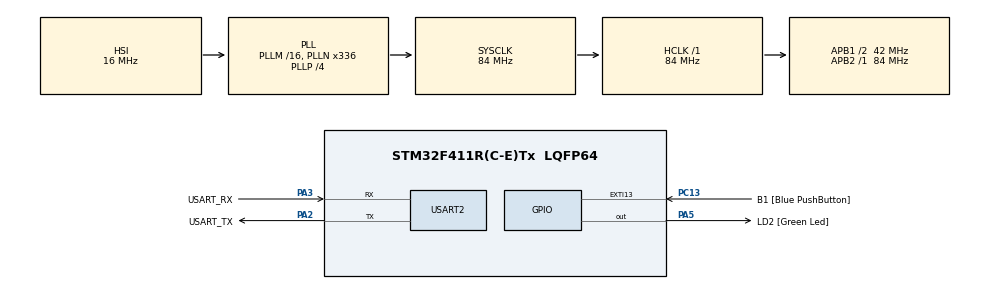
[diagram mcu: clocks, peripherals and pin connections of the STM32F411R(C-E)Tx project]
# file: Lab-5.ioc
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Mcu.Family=STM32F4
Mcu.Name=STM32F411R(C-E)Tx
Mcu.Package=LQFP64
NVIC.PriorityGroup=NVIC_PRIORITYGROUP_0
NVIC.USART2_IRQn=true\:0\:0\:false\:false\:true\:true\:true\:true
PA13.GPIO_Label=TMS
PA13.Mode=Serial_Wire
PA13.Signal=SYS_JTMS-SWDIO
PA14.GPIO_Label=TCK
PA14.Mode=Serial_Wire
PA14.Signal=SYS_JTCK-SWCLK
PA2.GPIO_Label=USART_TX
PA2.Mode=Asynchronous
PA2.Signal=USART2_TX
PA3.GPIO_Label=USART_RX
PA3.Mode=Asynchronous
PA3.Signal=USART2_RX
PA5.GPIO_Label=LD2 [Green Led]
PA5.Signal=GPIO_Output
PB3.GPIO_Label=SWO
PB3.Signal=SYS_JTDO-SWO
PC13-ANTI_TAMP.GPIO_Label=B1 [Blue PushButton]
PC13-ANTI_TAMP.GPIO_ModeDefaultEXTI=GPIO_MODE_IT_FALLING
PC13-ANTI_TAMP.Signal=GPXTI13
PC14-OSC32_IN.Mode=LSE-External-Oscillator
PC14-OSC32_IN.Signal=RCC_OSC32_IN
PC15-OSC32_OUT.Mode=LSE-External-Oscillator
PC15-OSC32_OUT.Signal=RCC_OSC32_OUT
PH0\ -\ OSC_IN.Mode=HSE-External-Clock-Source
PH0\ -\ OSC_IN.Signal=RCC_OSC_IN
PH1\ -\ OSC_OUT.Mode=HSE-External-Clock-Source
PH1\ -\ OSC_OUT.Signal=RCC_OSC_OUT
ProjectManager.HeapSize=0x200
ProjectManager.StackSize=0x400
ProjectManager.TargetToolchain=STM32CubeIDE
RCC.48MHZClocksFreq_Value=84000000
RCC.AHBFreq_Value=84000000
RCC.APB1CLKDivider=RCC_HCLK_DIV2
RCC.APB1Freq_Value=42000000
RCC.APB1TimFreq_Value=84000000
RCC.APB2Freq_Value=84000000
RCC.APB2TimFreq_Value=84000000
RCC.CortexFreq_Value=84000000
RCC.FLatency-AdvancedSettings=FLASH_LATENCY_2
RCC.HCLKFreq_Value=84000000
RCC.HSE_VALUE=8000000
RCC.HSI_VALUE=16000000
RCC.PLLN=336
RCC.PLLP=RCC_PLLP_DIV4
RCC.SYSCLKFreq_VALUE=84000000
RCC.SYSCLKSource=RCC_SYSCLKSOURCE_PLLCLK
RCC.VCOOutputFreq_Value=336000000
USART2.Parity=PARITY_EVEN
USART2.VirtualMode=VM_ASYNC
USART2.WordLength=WORDLENGTH_9B
board=NUCLEO-F411RE

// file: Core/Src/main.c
/* USER CODE BEGIN Header */
/**
  ******************************************************************************
  * @file           : main.c
  * @brief          : Main program body
  ******************************************************************************
  * @attention
  *
  * Copyright (c) 2023 STMicroelectronics.
  * All rights reserved.
  *
  * This software is licensed under terms that can be found in the LICENSE file
  * in the root directory of this software component.
  * If no LICENSE file comes with this software, it is provided AS-IS.
  *
  ******************************************************************************
  */
/* USER CODE END Header */
#include "main.h"

/* USER CODE BEGIN Includes */
#include "stdio.h"
#include "string.h"
/* USER CODE END Includes */

UART_HandleTypeDef huart2;

/* USER CODE BEGIN PV */
uint8_t RxBuffer[10] ;
uint8_t TxBuffer[200] ;
uint8_t Text[20] ;
uint8_t Menu [] ="what do you want to do ? \r\npress 0 for : Led Control \r\npress 1 for : Button Status \r\n";
uint8_t Menu0 [] = "--------LED Control--------\r\npress a for : Speed Up +1Hz\r\npress s for : Speed Down -1Hz\r\npress d for : On/Off\r\npress x for : Back\r\n";
uint8_t Menu1 [] = "--------Button Status--------\r\npress x for : Back\r\n";
uint8_t flagMenu = 0 ;
uint8_t ButtonStatus = 0 , L_ButtonStatus = 0;
int delay = 0 ;
uint32_t Blink = 0;
uint8_t OnoffLed = 0;
/* USER CODE END PV */

void SystemClock_Config(void);
static void MX_GPIO_Init(void);
static void MX_USART2_UART_Init(void);
/* USER CODE BEGIN PFP */
void UARTInterruptConfig();
/* USER CODE END PFP */

int main(void)
{

  /* MCU Configuration--------------------------------------------------------*/

  /* Reset of all peripherals, Initializes the Flash interface and the Systick. */
  HAL_Init();

  /* Configure the system clock */
  SystemClock_Config();

  /* Initialize all configured peripherals */
  MX_GPIO_Init();
  MX_USART2_UART_Init();

  /* Infinite loop */
  while (1)
  {

    /* USER CODE BEGIN 3 */
	  static uint32_t Time ;
	  UARTInterruptConfig();
	  if(HAL_GetTick() > Time && flagMenu == 0)
		  {
		  		Time = HAL_GetTick() + 3000 ;
		  		HAL_UART_Transmit_IT(&huart2, Menu, strlen((char*)Menu));  // show menu
		  }
	  else if(flagMenu != 0)
	  	  {
	  		  	Time = HAL_GetTick();
	  	  }

	  if(flagMenu == 2)
	  	 {
	  	  	  ButtonStatus = HAL_GPIO_ReadPin(B1_GPIO_Port, B1_Pin);
	  	  	  if(L_ButtonStatus != ButtonStatus)
		  	  {
		  		sprintf((char*)TxBuffer,"Button status : %d\r\n",ButtonStatus);
		  		HAL_UART_Transmit_IT(&huart2, TxBuffer, strlen((char*)TxBuffer));
		  	  }
  		  	  L_ButtonStatus = ButtonStatus ;

	  	 }
	  if(HAL_GetTick() > Blink && OnoffLed == 0)
	  {
		  if(delay > 0)
		  	  {
		  		  Blink = 500/delay ;                     //toggle use 500 ms because on and off at 1000 ms
		  	  }
		  	  else if(delay <= 0 )
		  	  {
		  		  Blink = 0 ;
		  	  }
		  Blink = HAL_GetTick() + Blink ;
		  HAL_GPIO_TogglePin(LD2_GPIO_Port, LD2_Pin);   // toggle ld2
	  }
  }
  /* USER CODE END 3 */
}

void SystemClock_Config(void)
{
  RCC_OscInitTypeDef RCC_OscInitStruct = {0};
  RCC_ClkInitTypeDef RCC_ClkInitStruct = {0};

  /** Configure the main internal regulator output voltage
  */
  __HAL_RCC_PWR_CLK_ENABLE();
  __HAL_PWR_VOLTAGESCALING_CONFIG(PWR_REGULATOR_VOLTAGE_SCALE1);

  /** Initializes the RCC Oscillators according to the specified parameters
  * in the RCC_OscInitTypeDef structure.
  */
  RCC_OscInitStruct.OscillatorType = RCC_OSCILLATORTYPE_HSI;
  RCC_OscInitStruct.HSIState = RCC_HSI_ON;
  RCC_OscInitStruct.HSICalibrationValue = RCC_HSICALIBRATION_DEFAULT;
  RCC_OscInitStruct.PLL.PLLState = RCC_PLL_ON;
  RCC_OscInitStruct.PLL.PLLSource = RCC_PLLSOURCE_HSI;
  RCC_OscInitStruct.PLL.PLLM = 16;
  RCC_OscInitStruct.PLL.PLLN = 336;
  RCC_OscInitStruct.PLL.PLLP = RCC_PLLP_DIV4;
  RCC_OscInitStruct.PLL.PLLQ = 4;
  if (HAL_RCC_OscConfig(&RCC_OscInitStruct) != HAL_OK)
  {
    Error_Handler();
  }

  /** Initializes the CPU, AHB and APB buses clocks
  */
  RCC_ClkInitStruct.ClockType = RCC_CLOCKTYPE_HCLK|RCC_CLOCKTYPE_SYSCLK
                              |RCC_CLOCKTYPE_PCLK1|RCC_CLOCKTYPE_PCLK2;
  RCC_ClkInitStruct.SYSCLKSource = RCC_SYSCLKSOURCE_PLLCLK;
  RCC_ClkInitStruct.AHBCLKDivider = RCC_SYSCLK_DIV1;
  RCC_ClkInitStruct.APB1CLKDivider = RCC_HCLK_DIV2;
  RCC_ClkInitStruct.APB2CLKDivider = RCC_HCLK_DIV1;

  if (HAL_RCC_ClockConfig(&RCC_ClkInitStruct, FLASH_LATENCY_2) != HAL_OK)
  {
    Error_Handler();
  }
}

static void MX_USART2_UART_Init(void)
{

  huart2.Instance = USART2;
  huart2.Init.BaudRate = 115200;
  huart2.Init.WordLength = UART_WORDLENGTH_9B;
  huart2.Init.StopBits = UART_STOPBITS_1;
  huart2.Init.Parity = UART_PARITY_EVEN;
  huart2.Init.Mode = UART_MODE_TX_RX;
  huart2.Init.HwFlowCtl = UART_HWCONTROL_NONE;
  huart2.Init.OverSampling = UART_OVERSAMPLING_16;
  if (HAL_UART_Init(&huart2) != HAL_OK)
  {
    Error_Handler();
  }

}

static void MX_GPIO_Init(void)
{
  GPIO_InitTypeDef GPIO_InitStruct = {0};

  /* GPIO Ports Clock Enable */
  __HAL_RCC_GPIOC_CLK_ENABLE();
  __HAL_RCC_GPIOH_CLK_ENABLE();
  __HAL_RCC_GPIOA_CLK_ENABLE();
  __HAL_RCC_GPIOB_CLK_ENABLE();

  /*Configure GPIO pin Output Level */
  HAL_GPIO_WritePin(LD2_GPIO_Port, LD2_Pin, GPIO_PIN_RESET);

  /*Configure GPIO pin : B1_Pin */
  GPIO_InitStruct.Pin = B1_Pin;
  GPIO_InitStruct.Mode = GPIO_MODE_IT_FALLING;
  GPIO_InitStruct.Pull = GPIO_NOPULL;
  HAL_GPIO_Init(B1_GPIO_Port, &GPIO_InitStruct);

  /*Configure GPIO pin : LD2_Pin */
  GPIO_InitStruct.Pin = LD2_Pin;
  GPIO_InitStruct.Mode = GPIO_MODE_OUTPUT_PP;
  GPIO_InitStruct.Pull = GPIO_NOPULL;
  GPIO_InitStruct.Speed = GPIO_SPEED_FREQ_LOW;
  HAL_GPIO_Init(LD2_GPIO_Port, &GPIO_InitStruct);

}

/* USER CODE BEGIN 4 */
void UARTInterruptConfig()
{
	HAL_UART_Receive_IT(&huart2, RxBuffer, 1);
}
void HAL_UART_RxCpltCallback(UART_HandleTypeDef *huart)
{
	if(huart == &huart2)
	{
		RxBuffer[1] = '\0' ;
		//return received data
		if(RxBuffer[0] == '0' && flagMenu == 0)
		{
			sprintf((char*)TxBuffer,"Received %s\r\n",RxBuffer);					// read Rx and copy to Tx
			strcat(TxBuffer,Menu0);                                             	// concat string
			HAL_UART_Transmit_IT(&huart2, TxBuffer, strlen((char*)TxBuffer));     // send tx with Interrupt
			flagMenu = 1 ;
		}
		else if(RxBuffer[0] == '1' && flagMenu == 0)
		{
			sprintf((char*)TxBuffer,"Received %s\r\n",RxBuffer);
			strcat(TxBuffer,Menu1);												// concat string with menu 1
			HAL_UART_Transmit_IT(&huart2, TxBuffer, strlen((char*)TxBuffer));	// send tx with Interrupt
			flagMenu = 2 ;
		}
		else if(RxBuffer[0] == 'a' && flagMenu == 1)
		{
			sprintf((char*)TxBuffer,"Received %s\r\n",RxBuffer);
			strcat(TxBuffer,"Speed Up 1 Hz\r\n");
			delay += 1;
			sprintf((char*)Text,"Blink at %d",delay);
			strcat(TxBuffer,Text);
			strcat(TxBuffer," Hz \r\n");
			OnoffLed = 0 ;
			HAL_UART_Transmit_IT(&huart2, TxBuffer, strlen((char*)TxBuffer));
		}
		else if(RxBuffer[0] == 's' && flagMenu == 1)
		{
			sprintf((char*)TxBuffer,"Received %s\r\n",RxBuffer);
			strcat(TxBuffer,"Speed Down 1 Hz\r\n");
			delay -= 1;
			if(delay < 0) {delay = 0;}
			sprintf((char*)Text,"Blink at %d",delay);
			strcat(TxBuffer,Text);
			strcat(TxBuffer," Hz \r\n");
			OnoffLed = 0 ;
			HAL_UART_Transmit_IT(&huart2, TxBuffer, strlen((char*)TxBuffer));
		}
		else if(RxBuffer[0] == 'd' && flagMenu == 1)
		{
			sprintf((char*)TxBuffer,"Received %s\r\n",RxBuffer);
			if (HAL_GPIO_ReadPin(LD2_GPIO_Port, LD2_Pin))
			{
				strcat(TxBuffer,"0ff\r\n");
			}
			else
			{
				strcat(TxBuffer,"0n\r\n");
			}
			HAL_UART_Transmit_IT(&huart2, TxBuffer, strlen((char*)TxBuffer));
			HAL_GPIO_TogglePin(LD2_GPIO_Port, LD2_Pin);
			OnoffLed = 1 ;
		}
		else if(RxBuffer[0] == 'x')
		{
			sprintf((char*)TxBuffer,"Received %s\r\n",RxBuffer);
			strcat(TxBuffer, "Back To Menu\r\n");
			HAL_UART_Transmit_IT(&huart2, TxBuffer, strlen((char*)TxBuffer));
			flagMenu = 0 ;
		}
		else
		{
			sprintf((char*)TxBuffer,"Received %s\r\n",RxBuffer);
			strcat(TxBuffer,"Worng Press\r\n");
			HAL_UART_Transmit_IT(&huart2, TxBuffer, strlen((char*)TxBuffer));
		}
		//recall received
		HAL_UART_Receive_IT(&huart2, RxBuffer, 1);

	}

}
/* USER CODE END 4 */

void Error_Handler(void)
{
  __disable_irq();
  while (1)
  {
  }
}
